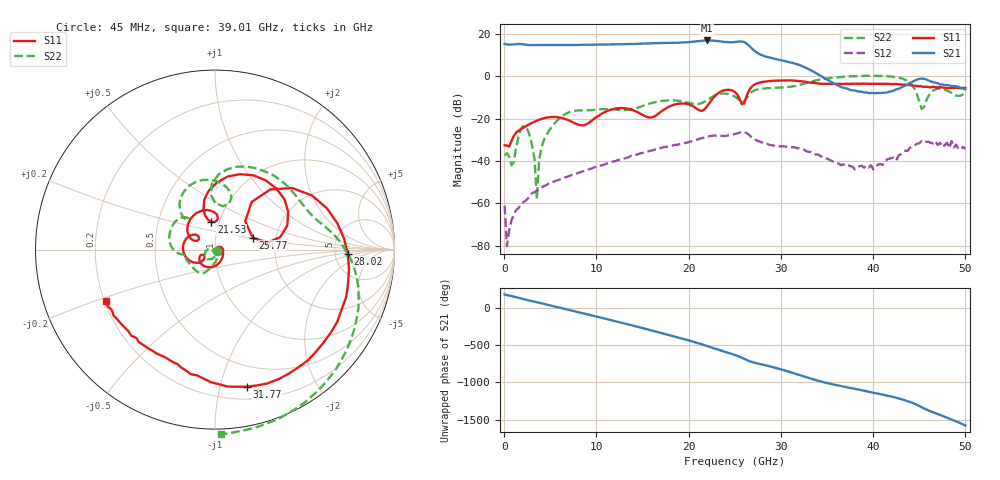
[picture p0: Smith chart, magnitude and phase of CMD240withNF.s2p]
# GHz S RI R 50
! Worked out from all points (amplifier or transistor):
!   201 points, 45 MHz to 50 GHz, reference 50 ohm
!   highest |S21| = 17.0 dB at 22.03 GHz (marker M1)
!   |S21| within 3 dB of that: start of sweep to 26.66 GHz
!   unconditionally stable (mu >= 1): start of sweep to 37.12 GHz; 41.81 GHz to end of sweep
!   at 8.288 GHz: K = 16.05, MAG = 15.0 dB, |S12| = -45.2 dB
!   at 25.02 GHz: K = 1.48, MAG = 17.6 dB, |S12| = -27.2 dB
!   at 50 GHz: K = 30.69, MAG = -3.8 dB, |S12| = -34.3 dB
!   lowest NFmin = 1.80 dB at 8 GHz
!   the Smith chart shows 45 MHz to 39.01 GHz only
!   S11 on the Smith chart (normalised r, x): 45 MHz: 1.05, -0.00; 21.53 GHz: 0.92, +0.29; 25.77 GHz: 1.52, +0.21; 28.02 GHz: 6.62, -0.68; 31.77 GHz: 0.31, -1.21; 39.01 GHz: 0.21, -0.21
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0.045  0.0236 -0.00218  -5.864 0.2441  -0.000436 -0.000772  0.00881 -0.0101
3.54185  0.00312 -0.09  1.477 5.298  0.0018 0.000876  -0.00109 -0.000638
6.0396  -0.0851 -0.0638  5.518 0.052  0.00304 -0.00209  -0.0251 -0.1012
8.53735  -0.0597 -0.0358  1.598 -5.311  -0.000376 -0.00575  -0.1043 -0.1185
10.28577  -0.095 -0.0737  -3.293 -4.544  -0.00579 -0.00515  -0.1535 -0.064
12.28397  -0.1767 -0.00877  -5.669 0.6794  -0.0103 0.00213  -0.1587 -0.0373
14.78172  -0.1022 0.0813  -0.5413 5.888  -0.00294 0.015  -0.1899 -0.0252
16.77992  -0.1241 0.0531  5.28 3.084  0.0144 0.0134  -0.2527 0.0451
18.77812  -0.1229 0.1867  5.03 -3.663  0.0231 -0.00763  -0.208 0.1667
20.27678  -0.00185 0.2062  0.3601 -6.526  0.0125 -0.0265  -0.15 0.175
21.52565  -0.0197 0.1541  -4.766 -5.073  -0.0116 -0.0332  -0.1668 0.1716
22.0252  -0.0565 0.193  -6.303 -3.165  -0.0234 -0.0298  -0.1899 0.2032
23.27407  0.0692 0.4065  -6.156 2.85  -0.0401 0.00091  -0.1416 0.3574
25.27227  0.3641 0.0705  1.583 6.379  -0.0118 0.0434  0.0917 0.2888
25.77182  0.2106 0.0661  4.288 5.103  0.00907 0.0486  0.0449 0.242
26.77092  0.4299 0.3431  4.727 -0.2905  0.0333 0.0169  0.0193 0.418
28.0198  0.7397 -0.0233  2.313 -2.086  0.0268 -0.00388  0.2582 0.443
31.76642  0.1783 -0.7636  -1.903 -0.2775  -0.00638 -0.0191  0.5908 0.146
33.51485  -0.1347 -0.6943  -0.6635 1.118  -0.0153 -0.00252  0.7729 -0.0909
39.0099  -0.6076 -0.2853  0.3541 -0.2205  0.00578 0.00396  0.0335 -1.03
41.75742  -0.6609 0.0671  -0.0912 -0.4269  0.0105 -0.00432  -0.6887 -0.7251
50  0.0684 0.5299  -0.3644 -0.3338  0.0181 -0.00673  -0.2507 -0.3443
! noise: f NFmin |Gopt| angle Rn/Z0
2  4  0  0  37.5
4  2.9  0  0  23.75
6  2.2  0  0  15
8  1.8  0  0  10
10  2.2  0  0  15
12  2  0  0  12.5
14  2.1  0  0  13.75
16  2.3  0  0  16.25
18  2.4  0  0  17.5
22  3.7  0  0  33.75
